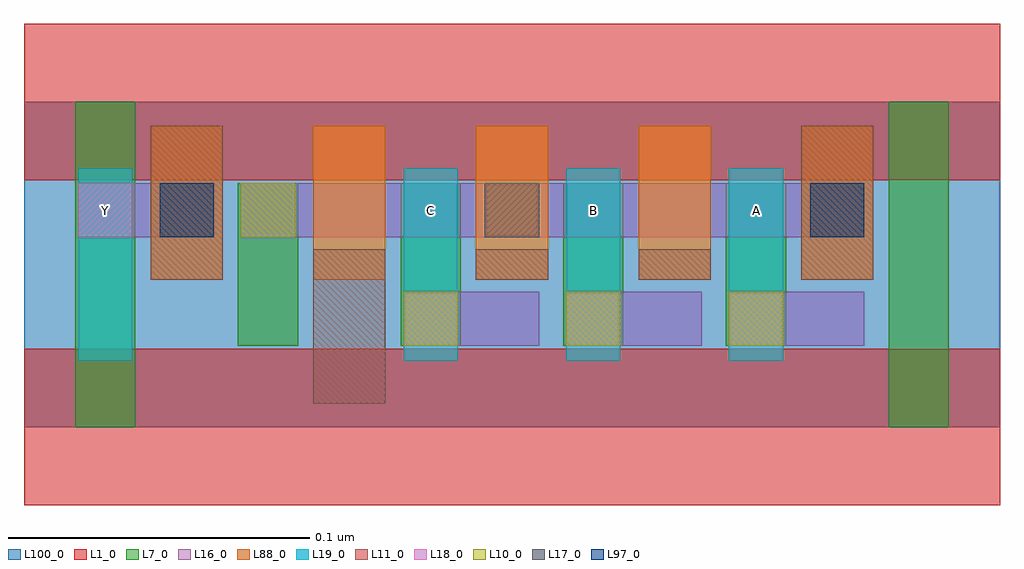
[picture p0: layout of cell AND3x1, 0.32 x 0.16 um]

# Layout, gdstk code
import gdstk
lib = gdstk.Library(unit=1e-6, precision=2.5e-10)
def R(c, l, rs):  # rectangles x0, y0, x1, y1
    for r in rs: c.add(gdstk.rectangle(r[:2], r[2:], *l))
def A(c, l, x, y, w, h, nx, ny, dx, dy):  # array of equal rectangles
    R(c, l, [(x+i*dx, y+j*dy, x+i*dx+w, y+j*dy+h) for i in range(nx) for j in range(ny)])
L1_0 = (1, 0)
L7_0 = (7, 0)
L10_0 = (10, 0)
L11_0 = (11, 0)
L16_0 = (16, 0)
L17_0 = (17, 0)
L18_0 = (18, 0)
L19_0 = (19, 0)
L88_0 = (88, 0)
L97_0 = (97, 0)
L100_0 = (100, 0)

and3x1 = lib.new_cell('AND3x1')
R(and3x1, L1_0, [(0,-0.026,0.324,0.026), (0,0.082,0.324,0.134)])
A(and3x1, L7_0, 0.071, 0.027, 0.02, 0.054, 4, 1, 0.054, 0)
R(and3x1, L7_0, [(0.017,0,0.037,0.108), (0.287,0,0.307,0.108)])
A(and3x1, L10_0, 0.126, 0.027, 0.018, 0.018, 3, 1, 0.054, 0)
R(and3x1, L10_0, [(0.072,0.063,0.09,0.081)])
R(and3x1, L11_0, [(0.096,0.008,0.12,0.059), (0.042,0.049,0.066,0.1), (0.15,0.049,0.174,0.059), (0.204,0.049,0.228,0.059), (0.258,0.049,0.282,0.1)])
A(and3x1, L16_0, 0.126, 0.027, 0.045, 0.018, 3, 1, 0.054, 0)
R(and3x1, L16_0, [(0.018,0.063,0.063,0.081), (0.072,0.063,0.279,0.081)])
A(and3x1, L17_0, 0.045, 0.063, 0.018, 0.018, 3, 1, 0.108, 0)
A(and3x1, L18_0, 0.126, 0.027, 0.018, 0.018, 3, 1, 0.054, 0)
R(and3x1, L18_0, [(0.018,0.063,0.036,0.081)])
A(and3x1, L19_0, 0.126, 0.022, 0.018, 0.064, 3, 1, 0.054, 0)
R(and3x1, L19_0, [(0.018,0.022,0.036,0.086)])
A(and3x1, L88_0, 0.042, 0.049, 0.024, 0.051, 5, 1, 0.054, 0)
R(and3x1, L97_0, [(0.045,0.063,0.063,0.081), (0.261,0.063,0.279,0.081)])
R(and3x1, L100_0, [(0,0,0.324,0.108)])
and3x1.add(gdstk.Label('A', (0.243,0.072), layer=19, texttype=251))
and3x1.add(gdstk.Label('B', (0.189,0.072), layer=19, texttype=251))
and3x1.add(gdstk.Label('C', (0.135,0.072), layer=19, texttype=251))
and3x1.add(gdstk.Label('Y', (0.027,0.072), layer=19, texttype=251))

lib.write_gds('AND3x1.gds')
